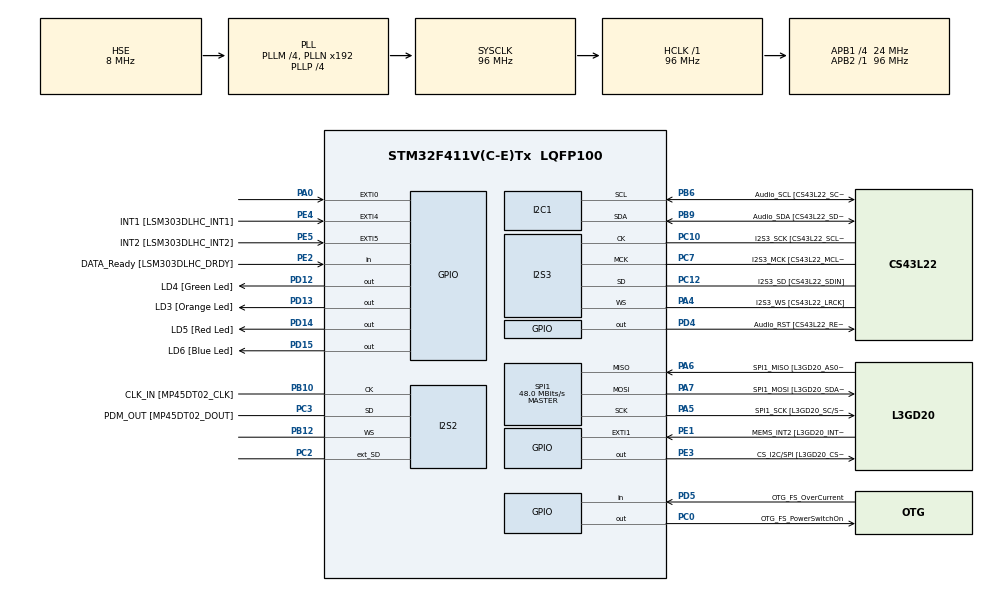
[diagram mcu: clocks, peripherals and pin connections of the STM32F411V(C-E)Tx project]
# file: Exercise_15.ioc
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FREERTOS.BinarySemaphores01=Blue2Green,Dynamic,NULL;Blue2Red,Dynamic,NULL
FREERTOS.Tasks01=GreenTask,0,128,StartGreenTask,Default,NULL,Dynamic,NULL,NULL;RedTask,0,128,StartRedTask,Default,NULL,Dynamic,NULL,NULL;BlueTask,0,128,StartBlueTask,Default,NULL,Dynamic,NULL,NULL
I2S2.AudioFreq=I2S_AUDIOFREQ_96K
I2S2.ErrorAudioFreq=0.15 %
I2S2.FullDuplexMode=I2S_FULLDUPLEXMODE_ENABLE
I2S2.Instance=SPI$Index
I2S2.RealAudioFreq=96.153 KHz
I2S2.VirtualMode=I2S_MODE_MASTER
I2S3.AudioFreq=I2S_AUDIOFREQ_96K
I2S3.ErrorAudioFreq=-6.99 %
I2S3.FullDuplexMode=I2S_FULLDUPLEXMODE_DISABLE
I2S3.Instance=SPI$Index
I2S3.RealAudioFreq=89.285 KHz
I2S3.VirtualMode=I2S_MODE_MASTER
Mcu.Family=STM32F4
Mcu.Name=STM32F411V(C-E)Tx
Mcu.Package=LQFP100
NVIC.PriorityGroup=NVIC_PRIORITYGROUP_4
NVIC.TIM1_UP_TIM10_IRQn=true\:0\:0\:false\:false\:true\:false\:false\:true
NVIC.TimeBase=TIM1_UP_TIM10_IRQn
NVIC.TimeBaseIP=TIM1
PA0-WKUP.GPIO_ModeDefaultEXTI=GPIO_MODE_EVT_RISING
PA0-WKUP.Signal=GPXTI0
PA10.GPIO_Label=OTG_FS_ID
PA10.Signal=USB_OTG_FS_ID
PA11.GPIO_Label=OTG_FS_DM
PA11.Signal=USB_OTG_FS_DM
PA12.GPIO_Label=OTG_FS_DP
PA12.Signal=USB_OTG_FS_DP
PA13.GPIO_Label=SWDIO
PA13.Mode=Serial_Wire
PA13.Signal=SYS_JTMS-SWDIO
PA14.GPIO_Label=SWCLK
PA14.Mode=Serial_Wire
PA14.Signal=SYS_JTCK-SWCLK
PA4.GPIO_Label=I2S3_WS [CS43L22_LRCK]
PA4.GPIO_Mode=GPIO_MODE_AF_PP
PA4.GPIO_PuPd=GPIO_NOPULL
PA4.GPIO_Speed=GPIO_SPEED_FREQ_LOW
PA4.Mode=Half_Duplex_Master
PA4.Signal=I2S3_WS
PA5.GPIO_Label=SPI1_SCK [L3GD20_SC/SPC]
PA5.Mode=Full_Duplex_Master
PA5.Signal=SPI1_SCK
PA6.GPIO_Label=SPI1_MISO [L3GD20_AS0/SDO]
PA6.Mode=Full_Duplex_Master
PA6.Signal=SPI1_MISO
PA7.GPIO_Label=SPI1_MOSI [L3GD20_SDA/SDI/SDO]
PA7.Mode=Full_Duplex_Master
PA7.Signal=SPI1_MOSI
PA9.GPIO_Label=VBUS_FS
PA9.Signal=USB_OTG_FS_VBUS
PB10.GPIO_Label=CLK_IN [MP45DT02_CLK]
PB10.Mode=Full_Duplex_Master
PB10.Signal=I2S2_CK
PB12.Mode=Full_Duplex_Master
PB12.Signal=I2S2_WS
PB3.GPIO_Label=SWO
PB3.Signal=SYS_JTDO-SWO
PB6.GPIO_Label=Audio_SCL [CS43L22_SCL]
PB6.GPIO_Mode=GPIO_MODE_AF_OD
PB6.GPIO_PuPd=GPIO_NOPULL
PB6.GPIO_Speed=GPIO_SPEED_FREQ_LOW
PB6.Mode=I2C
PB6.Signal=I2C1_SCL
PB9.GPIO_Label=Audio_SDA [CS43L22_SDA]
PB9.GPIO_Mode=GPIO_MODE_AF_OD
PB9.GPIO_PuPd=GPIO_NOPULL
PB9.GPIO_Speed=GPIO_SPEED_FREQ_LOW
PB9.Mode=I2C
PB9.Signal=I2C1_SDA
PC0.GPIO_Label=OTG_FS_PowerSwitchOn
PC0.PinState=GPIO_PIN_SET
PC0.Signal=GPIO_Output
PC10.GPIO_Label=I2S3_SCK [CS43L22_SCLK]
PC10.GPIO_Mode=GPIO_MODE_AF_PP
PC10.GPIO_PuPd=GPIO_NOPULL
PC10.GPIO_Speed=GPIO_SPEED_FREQ_LOW
PC10.Mode=Half_Duplex_Master
PC10.Signal=I2S3_CK
PC12.GPIO_Label=I2S3_SD [CS43L22_SDIN]
PC12.GPIO_Mode=GPIO_MODE_AF_PP
PC12.GPIO_PuPd=GPIO_NOPULL
PC12.GPIO_Speed=GPIO_SPEED_FREQ_LOW
PC12.Mode=Half_Duplex_Master
PC12.Signal=I2S3_SD
PC14-OSC32_IN.GPIO_Label=PC14-OSC32_IN
PC14-OSC32_IN.Mode=LSE-External-Oscillator
PC14-OSC32_IN.Signal=RCC_OSC32_IN
PC15-OSC32_OUT.GPIO_Label=PC15-OSC32_OUT
PC15-OSC32_OUT.Mode=LSE-External-Oscillator
PC15-OSC32_OUT.Signal=RCC_OSC32_OUT
PC2.Mode=Full_Duplex_Master
PC2.Signal=I2S2_ext_SD
PC3.GPIO_Label=PDM_OUT [MP45DT02_DOUT]
PC3.Mode=Full_Duplex_Master
PC3.Signal=I2S2_SD
PC7.GPIO_Label=I2S3_MCK [CS43L22_MCLK]
PC7.GPIO_Mode=GPIO_MODE_AF_PP
PC7.GPIO_PuPd=GPIO_NOPULL
PC7.GPIO_Speed=GPIO_SPEED_FREQ_LOW
PC7.Mode=Master_Clock_Activated
PC7.Signal=I2S3_MCK
PD12.GPIO_Label=LD4 [Green Led]
PD12.GPIO_PuPd=GPIO_NOPULL
PD12.GPIO_Speed=GPIO_SPEED_FREQ_LOW
PD12.Signal=GPIO_Output
PD13.GPIO_Label=LD3 [Orange Led]
PD13.GPIO_PuPd=GPIO_NOPULL
PD13.GPIO_Speed=GPIO_SPEED_FREQ_LOW
PD13.Signal=GPIO_Output
PD14.GPIO_Label=LD5 [Red Led]
PD14.GPIO_PuPd=GPIO_NOPULL
PD14.GPIO_Speed=GPIO_SPEED_FREQ_LOW
PD14.Signal=GPIO_Output
PD15.GPIO_Label=LD6 [Blue Led]
PD15.GPIO_PuPd=GPIO_NOPULL
PD15.GPIO_Speed=GPIO_SPEED_FREQ_LOW
PD15.Signal=GPIO_Output
PD4.GPIO_Label=Audio_RST [CS43L22_RESET]
PD4.Signal=GPIO_Output
PD5.GPIO_Label=OTG_FS_OverCurrent
PD5.Signal=GPIO_Input
PE1.GPIO_Label=MEMS_INT2 [L3GD20_INT2]
PE1.GPIO_ModeDefaultEXTI=GPIO_MODE_EVT_RISING
PE1.Signal=GPXTI1
PE2.GPIO_Label=DATA_Ready [LSM303DLHC_DRDY]
PE2.Signal=GPIO_Input
PE3.GPIO_Label=CS_I2C/SPI [L3GD20_CS_I2C/SPI]
PE3.Signal=GPIO_Output
PE4.GPIO_Label=INT1 [LSM303DLHC_INT1]
PE4.GPIO_ModeDefaultEXTI=GPIO_MODE_EVT_RISING
PE4.Signal=GPXTI4
PE5.GPIO_Label=INT2 [LSM303DLHC_INT2]
PE5.GPIO_ModeDefaultEXTI=GPIO_MODE_EVT_RISING
PE5.Signal=GPXTI5
PH0\ -\ OSC_IN.GPIO_Label=PH0-OSC_IN
PH0\ -\ OSC_IN.Mode=HSE-External-Clock-Source
PH0\ -\ OSC_IN.Signal=RCC_OSC_IN
PH1\ -\ OSC_OUT.GPIO_Label=PH1-OSC_OUT
PH1\ -\ OSC_OUT.Mode=HSE-External-Clock-Source
PH1\ -\ OSC_OUT.Signal=RCC_OSC_OUT
ProjectManager.HeapSize=0x200
ProjectManager.StackSize=0x400
ProjectManager.TargetToolchain=STM32CubeIDE
RCC.48MHZClocksFreq_Value=48000000
RCC.AHBFreq_Value=96000000
RCC.APB1CLKDivider=RCC_HCLK_DIV4
RCC.APB1Freq_Value=24000000
RCC.APB1TimFreq_Value=48000000
RCC.APB2Freq_Value=96000000
RCC.APB2TimFreq_Value=96000000
RCC.CortexFreq_Value=96000000
RCC.HCLKFreq_Value=96000000
RCC.HSE_VALUE=8000000
RCC.HSI_VALUE=16000000
RCC.PLLI2SM=5
RCC.PLLI2SN=200
RCC.PLLM=4
RCC.PLLP=RCC_PLLP_DIV4
RCC.PLLQ=8
RCC.PLLSourceVirtual=RCC_PLLSOURCE_HSE
RCC.SYSCLKFreq_VALUE=96000000
RCC.SYSCLKSource=RCC_SYSCLKSOURCE_PLLCLK
RCC.VCOOutputFreq_Value=384000000
SPI1.BaudRatePrescaler=SPI_BAUDRATEPRESCALER_2
SPI1.CalculateBaudRate=48.0 MBits/s
SPI1.Direction=SPI_DIRECTION_2LINES
SPI1.Mode=SPI_MODE_MASTER
SPI1.VirtualType=VM_MASTER
VP_FREERTOS_VS_CMSIS_V1.Mode=CMSIS_V1
VP_SYS_VS_tim1.Mode=TIM1
board=STM32F411E-DISCO

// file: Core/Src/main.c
/* USER CODE BEGIN Header */
/**
  ******************************************************************************
  * @file           : main.c
  * @brief          : Main program body
  ******************************************************************************
  * @attention
  *
  * <h2><center>&copy; Copyright (c) 2023 STMicroelectronics.
  * All rights reserved.</center></h2>
  *
  * This software component is licensed by ST under Ultimate Liberty license
  * SLA0044, the "License"; You may not use this file except in compliance with
  * the License. You may obtain a copy of the License at:
  *                             www.st.com/SLA0044
  *
  ******************************************************************************
  */
/* USER CODE END Header */

#include "main.h"
#include "cmsis_os.h"

/* USER CODE BEGIN PD */
#define green GPIO_PIN_12
#define orange GPIO_PIN_13
#define red GPIO_PIN_14
#define blue GPIO_PIN_15
/* USER CODE END PD */

I2C_HandleTypeDef hi2c1;

I2S_HandleTypeDef hi2s2;
I2S_HandleTypeDef hi2s3;

SPI_HandleTypeDef hspi1;

osThreadId GreenTaskHandle;
osThreadId RedTaskHandle;
osThreadId BlueTaskHandle;
osSemaphoreId Blue2GreenHandle;
osSemaphoreId Blue2RedHandle;

void SystemClock_Config(void);
static void MX_GPIO_Init(void);
static void MX_I2C1_Init(void);
static void MX_I2S2_Init(void);
static void MX_I2S3_Init(void);
static void MX_SPI1_Init(void);
void StartGreenTask(void const * argument);
void StartRedTask(void const * argument);
void StartBlueTask(void const * argument);

int main(void)
{

  /* MCU Configuration--------------------------------------------------------*/

  /* Reset of all peripherals, Initializes the Flash interface and the Systick. */
  HAL_Init();

  /* Configure the system clock */
  SystemClock_Config();

  /* Initialize all configured peripherals */
  MX_GPIO_Init();
  MX_I2C1_Init();
  MX_I2S2_Init();
  MX_I2S3_Init();
  MX_SPI1_Init();

  /* Create the semaphores(s) */
  /* definition and creation of Blue2Green */
  osSemaphoreDef(Blue2Green);
  Blue2GreenHandle = osSemaphoreCreate(osSemaphore(Blue2Green), 1);

  /* definition and creation of Blue2Red */
  osSemaphoreDef(Blue2Red);
  Blue2RedHandle = osSemaphoreCreate(osSemaphore(Blue2Red), 1);

  /* USER CODE BEGIN RTOS_SEMAPHORES */
  osSemaphoreWait(Blue2GreenHandle, 0);
  osSemaphoreWait(Blue2RedHandle, 0);
  /* USER CODE END RTOS_SEMAPHORES */

  /* Create the thread(s) */
  /* definition and creation of GreenTask */
  osThreadDef(GreenTask, StartGreenTask, osPriorityNormal, 0, 128);
  GreenTaskHandle = osThreadCreate(osThread(GreenTask), NULL);

  /* definition and creation of RedTask */
  osThreadDef(RedTask, StartRedTask, osPriorityNormal, 0, 128);
  RedTaskHandle = osThreadCreate(osThread(RedTask), NULL);

  /* definition and creation of BlueTask */
  osThreadDef(BlueTask, StartBlueTask, osPriorityNormal, 0, 128);
  BlueTaskHandle = osThreadCreate(osThread(BlueTask), NULL);

  /* Start scheduler */
  osKernelStart();

  /* We should never get here as control is now taken by the scheduler */

  /* Infinite loop */
  while (1)
  {

  }
}

void SystemClock_Config(void)
{
  RCC_OscInitTypeDef RCC_OscInitStruct = {0};
  RCC_ClkInitTypeDef RCC_ClkInitStruct = {0};
  RCC_PeriphCLKInitTypeDef PeriphClkInitStruct = {0};

  /** Configure the main internal regulator output voltage
  */
  __HAL_RCC_PWR_CLK_ENABLE();
  __HAL_PWR_VOLTAGESCALING_CONFIG(PWR_REGULATOR_VOLTAGE_SCALE1);
  /** Initializes the CPU, AHB and APB busses clocks
  */
  RCC_OscInitStruct.OscillatorType = RCC_OSCILLATORTYPE_HSE;
  RCC_OscInitStruct.HSEState = RCC_HSE_BYPASS;
  RCC_OscInitStruct.PLL.PLLState = RCC_PLL_ON;
  RCC_OscInitStruct.PLL.PLLSource = RCC_PLLSOURCE_HSE;
  RCC_OscInitStruct.PLL.PLLM = 4;
  RCC_OscInitStruct.PLL.PLLN = 192;
  RCC_OscInitStruct.PLL.PLLP = RCC_PLLP_DIV4;
  RCC_OscInitStruct.PLL.PLLQ = 8;
  if (HAL_RCC_OscConfig(&RCC_OscInitStruct) != HAL_OK)
  {
    Error_Handler();
  }
  /** Initializes the CPU, AHB and APB busses clocks
  */
  RCC_ClkInitStruct.ClockType = RCC_CLOCKTYPE_HCLK|RCC_CLOCKTYPE_SYSCLK
                              |RCC_CLOCKTYPE_PCLK1|RCC_CLOCKTYPE_PCLK2;
  RCC_ClkInitStruct.SYSCLKSource = RCC_SYSCLKSOURCE_PLLCLK;
  RCC_ClkInitStruct.AHBCLKDivider = RCC_SYSCLK_DIV1;
  RCC_ClkInitStruct.APB1CLKDivider = RCC_HCLK_DIV4;
  RCC_ClkInitStruct.APB2CLKDivider = RCC_HCLK_DIV1;

  if (HAL_RCC_ClockConfig(&RCC_ClkInitStruct, FLASH_LATENCY_3) != HAL_OK)
  {
    Error_Handler();
  }
  PeriphClkInitStruct.PeriphClockSelection = RCC_PERIPHCLK_I2S;
  PeriphClkInitStruct.PLLI2S.PLLI2SN = 200;
  PeriphClkInitStruct.PLLI2S.PLLI2SM = 5;
  PeriphClkInitStruct.PLLI2S.PLLI2SR = 2;
  if (HAL_RCCEx_PeriphCLKConfig(&PeriphClkInitStruct) != HAL_OK)
  {
    Error_Handler();
  }
}

static void MX_I2C1_Init(void)
{

  hi2c1.Instance = I2C1;
  hi2c1.Init.ClockSpeed = 100000;
  hi2c1.Init.DutyCycle = I2C_DUTYCYCLE_2;
  hi2c1.Init.OwnAddress1 = 0;
  hi2c1.Init.AddressingMode = I2C_ADDRESSINGMODE_7BIT;
  hi2c1.Init.DualAddressMode = I2C_DUALADDRESS_DISABLE;
  hi2c1.Init.OwnAddress2 = 0;
  hi2c1.Init.GeneralCallMode = I2C_GENERALCALL_DISABLE;
  hi2c1.Init.NoStretchMode = I2C_NOSTRETCH_DISABLE;
  if (HAL_I2C_Init(&hi2c1) != HAL_OK)
  {
    Error_Handler();
  }

}

static void MX_I2S2_Init(void)
{

  hi2s2.Instance = SPI2;
  hi2s2.Init.Mode = I2S_MODE_MASTER_TX;
  hi2s2.Init.Standard = I2S_STANDARD_PHILIPS;
  hi2s2.Init.DataFormat = I2S_DATAFORMAT_16B;
  hi2s2.Init.MCLKOutput = I2S_MCLKOUTPUT_DISABLE;
  hi2s2.Init.AudioFreq = I2S_AUDIOFREQ_96K;
  hi2s2.Init.CPOL = I2S_CPOL_LOW;
  hi2s2.Init.ClockSource = I2S_CLOCK_PLL;
  hi2s2.Init.FullDuplexMode = I2S_FULLDUPLEXMODE_ENABLE;
  if (HAL_I2S_Init(&hi2s2) != HAL_OK)
  {
    Error_Handler();
  }

}

static void MX_I2S3_Init(void)
{

  hi2s3.Instance = SPI3;
  hi2s3.Init.Mode = I2S_MODE_MASTER_TX;
  hi2s3.Init.Standard = I2S_STANDARD_PHILIPS;
  hi2s3.Init.DataFormat = I2S_DATAFORMAT_16B;
  hi2s3.Init.MCLKOutput = I2S_MCLKOUTPUT_ENABLE;
  hi2s3.Init.AudioFreq = I2S_AUDIOFREQ_96K;
  hi2s3.Init.CPOL = I2S_CPOL_LOW;
  hi2s3.Init.ClockSource = I2S_CLOCK_PLL;
  hi2s3.Init.FullDuplexMode = I2S_FULLDUPLEXMODE_DISABLE;
  if (HAL_I2S_Init(&hi2s3) != HAL_OK)
  {
    Error_Handler();
  }

}

static void MX_SPI1_Init(void)
{

  /* SPI1 parameter configuration*/
  hspi1.Instance = SPI1;
  hspi1.Init.Mode = SPI_MODE_MASTER;
  hspi1.Init.Direction = SPI_DIRECTION_2LINES;
  hspi1.Init.DataSize = SPI_DATASIZE_8BIT;
  hspi1.Init.CLKPolarity = SPI_POLARITY_LOW;
  hspi1.Init.CLKPhase = SPI_PHASE_1EDGE;
  hspi1.Init.NSS = SPI_NSS_SOFT;
  hspi1.Init.BaudRatePrescaler = SPI_BAUDRATEPRESCALER_2;
  hspi1.Init.FirstBit = SPI_FIRSTBIT_MSB;
  hspi1.Init.TIMode = SPI_TIMODE_DISABLE;
  hspi1.Init.CRCCalculation = SPI_CRCCALCULATION_DISABLE;
  hspi1.Init.CRCPolynomial = 10;
  if (HAL_SPI_Init(&hspi1) != HAL_OK)
  {
    Error_Handler();
  }

}

static void MX_GPIO_Init(void)
{
  GPIO_InitTypeDef GPIO_InitStruct = {0};

  /* GPIO Ports Clock Enable */
  __HAL_RCC_GPIOE_CLK_ENABLE();
  __HAL_RCC_GPIOC_CLK_ENABLE();
  __HAL_RCC_GPIOH_CLK_ENABLE();
  __HAL_RCC_GPIOA_CLK_ENABLE();
  __HAL_RCC_GPIOB_CLK_ENABLE();
  __HAL_RCC_GPIOD_CLK_ENABLE();

  /*Configure GPIO pin Output Level */
  HAL_GPIO_WritePin(CS_I2C_SPI_GPIO_Port, CS_I2C_SPI_Pin, GPIO_PIN_RESET);

  /*Configure GPIO pin Output Level */
  HAL_GPIO_WritePin(OTG_FS_PowerSwitchOn_GPIO_Port, OTG_FS_PowerSwitchOn_Pin, GPIO_PIN_SET);

  /*Configure GPIO pin Output Level */
  HAL_GPIO_WritePin(GPIOD, LD4_Pin|LD3_Pin|LD5_Pin|LD6_Pin
                          |Audio_RST_Pin, GPIO_PIN_RESET);

  /*Configure GPIO pin : DATA_Ready_Pin */
  GPIO_InitStruct.Pin = DATA_Ready_Pin;
  GPIO_InitStruct.Mode = GPIO_MODE_INPUT;
  GPIO_InitStruct.Pull = GPIO_NOPULL;
  HAL_GPIO_Init(DATA_Ready_GPIO_Port, &GPIO_InitStruct);

  /*Configure GPIO pin : CS_I2C_SPI_Pin */
  GPIO_InitStruct.Pin = CS_I2C_SPI_Pin;
  GPIO_InitStruct.Mode = GPIO_MODE_OUTPUT_PP;
  GPIO_InitStruct.Pull = GPIO_NOPULL;
  GPIO_InitStruct.Speed = GPIO_SPEED_FREQ_LOW;
  HAL_GPIO_Init(CS_I2C_SPI_GPIO_Port, &GPIO_InitStruct);

  /*Configure GPIO pins : INT1_Pin INT2_Pin MEMS_INT2_Pin */
  GPIO_InitStruct.Pin = INT1_Pin|INT2_Pin|MEMS_INT2_Pin;
  GPIO_InitStruct.Mode = GPIO_MODE_EVT_RISING;
  GPIO_InitStruct.Pull = GPIO_NOPULL;
  HAL_GPIO_Init(GPIOE, &GPIO_InitStruct);

  /*Configure GPIO pin : OTG_FS_PowerSwitchOn_Pin */
  GPIO_InitStruct.Pin = OTG_FS_PowerSwitchOn_Pin;
  GPIO_InitStruct.Mode = GPIO_MODE_OUTPUT_PP;
  GPIO_InitStruct.Pull = GPIO_NOPULL;
  GPIO_InitStruct.Speed = GPIO_SPEED_FREQ_LOW;
  HAL_GPIO_Init(OTG_FS_PowerSwitchOn_GPIO_Port, &GPIO_InitStruct);

  /*Configure GPIO pin : PA0 */
  GPIO_InitStruct.Pin = GPIO_PIN_0;
  GPIO_InitStruct.Mode = GPIO_MODE_EVT_RISING;
  GPIO_InitStruct.Pull = GPIO_NOPULL;
  HAL_GPIO_Init(GPIOA, &GPIO_InitStruct);

  /*Configure GPIO pins : LD4_Pin LD3_Pin LD5_Pin LD6_Pin
                           Audio_RST_Pin */
  GPIO_InitStruct.Pin = LD4_Pin|LD3_Pin|LD5_Pin|LD6_Pin
                          |Audio_RST_Pin;
  GPIO_InitStruct.Mode = GPIO_MODE_OUTPUT_PP;
  GPIO_InitStruct.Pull = GPIO_NOPULL;
  GPIO_InitStruct.Speed = GPIO_SPEED_FREQ_LOW;
  HAL_GPIO_Init(GPIOD, &GPIO_InitStruct);

  /*Configure GPIO pin : VBUS_FS_Pin */
  GPIO_InitStruct.Pin = VBUS_FS_Pin;
  GPIO_InitStruct.Mode = GPIO_MODE_INPUT;
  GPIO_InitStruct.Pull = GPIO_NOPULL;
  HAL_GPIO_Init(VBUS_FS_GPIO_Port, &GPIO_InitStruct);

  /*Configure GPIO pins : OTG_FS_ID_Pin OTG_FS_DM_Pin OTG_FS_DP_Pin */
  GPIO_InitStruct.Pin = OTG_FS_ID_Pin|OTG_FS_DM_Pin|OTG_FS_DP_Pin;
  GPIO_InitStruct.Mode = GPIO_MODE_AF_PP;
  GPIO_InitStruct.Pull = GPIO_NOPULL;
  GPIO_InitStruct.Speed = GPIO_SPEED_FREQ_VERY_HIGH;
  GPIO_InitStruct.Alternate = GPIO_AF10_OTG_FS;
  HAL_GPIO_Init(GPIOA, &GPIO_InitStruct);

  /*Configure GPIO pin : OTG_FS_OverCurrent_Pin */
  GPIO_InitStruct.Pin = OTG_FS_OverCurrent_Pin;
  GPIO_InitStruct.Mode = GPIO_MODE_INPUT;
  GPIO_InitStruct.Pull = GPIO_NOPULL;
  HAL_GPIO_Init(OTG_FS_OverCurrent_GPIO_Port, &GPIO_InitStruct);

}

void StartGreenTask(void const * argument)
{
  /* USER CODE BEGIN 5 */
  /* Infinite loop */
  for(;;)
  {
  osSemaphoreWait(Blue2GreenHandle, osWaitForever); // waits for semaphore from Blue Task

  for(int i = 0; i <= 50; i++) // Flash green led for 5 sec @ 10 Hz
	{
		HAL_GPIO_WritePin(GPIOD, green, GPIO_PIN_SET);
		osDelay(50);
		HAL_GPIO_WritePin(GPIOD, green, GPIO_PIN_RESET);
		osDelay(50);
	}
  }
  /* USER CODE END 5 */
}

void StartRedTask(void const * argument)
{
  /* USER CODE BEGIN StartRedTask */
  /* Infinite loop */
  for(;;)
  {
  osSemaphoreWait(Blue2RedHandle, osWaitForever); // waits for semaphore from Blue Task

  for(int i = 0; i <= 50; i++) // Flash red led for 5 sec @ 10 Hz
	{
		HAL_GPIO_WritePin(GPIOD, red, GPIO_PIN_SET);
		osDelay(50);
		HAL_GPIO_WritePin(GPIOD, red, GPIO_PIN_RESET);
		osDelay(50);
	}
  }
  /* USER CODE END StartRedTask */
}

void StartBlueTask(void const * argument)
{
  /* USER CODE BEGIN StartBlueTask */
  /* Infinite loop */
  for(;;)
  {
	  for(int i = 0; i <= 10; i++) // Flash blue led for 10 sec @ 10 Hz
	  	{
	  		HAL_GPIO_WritePin(GPIOD, blue, GPIO_PIN_SET);
	  		osDelay(500);
	  		HAL_GPIO_WritePin(GPIOD, blue, GPIO_PIN_RESET);
	  		osDelay(500);
	  	}

	    osSemaphoreRelease(Blue2GreenHandle); // release semaphore for Green Task

	    osDelay(6000); // delay 6 sec

	    osSemaphoreRelease(Blue2RedHandle); // release semaphore for Red Task
  }
  /* USER CODE END StartBlueTask */
}

void HAL_TIM_PeriodElapsedCallback(TIM_HandleTypeDef *htim)
{
  if (htim->Instance == TIM1) {
    HAL_IncTick();
  }
}

void Error_Handler(void)
{
}

/************************ (C) COPYRIGHT STMicroelectronics *****END OF FILE****/
